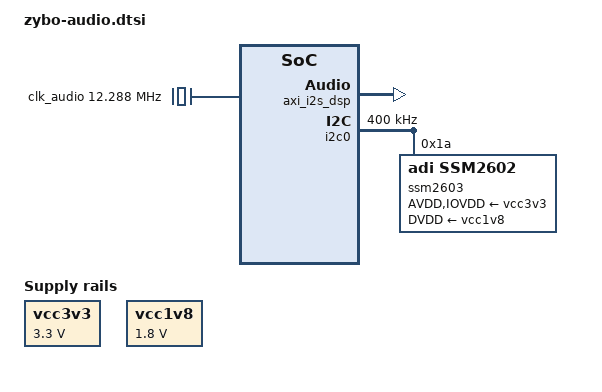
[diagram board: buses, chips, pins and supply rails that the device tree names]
/*
 * zybo-audio.dtsi — Device Tree Overlay for ZYBO Audio DSP
 * ----------------------------------------------------------
 * This file adds the audio subsystem nodes to the ZYBO Z7 device tree.
 * Include it from the top-level system-top.dts in your Buildroot project:
 *
 *   /include/ "zybo-audio.dtsi"
 *
 * Key nodes:
 *   - axi_dma_audio: AXI DMA engine for audio streaming
 *   - axi_i2s_dsp:   Custom I2S + DSP audio processing IP
 *   - sound_card:    ASoC sound card definition
 *   - clk_audio:     Audio clock (12.288 MHz from PL MMCM)
 */

/ {
    /* ── Audio clock reference ─────────────────────────────────────── */
    clk_audio: clk_audio {
        compatible = "fixed-clock";
        #clock-cells = <0>;
        clock-frequency = <12288000>;  /* 12.288 MHz */
        clock-output-names = "audio_mclk";
    };

    /* ── ASoC Sound Card ───────────────────────────────────────────── */
    sound_card: sound {
        compatible = "digilent,zybo-audio";
        model = "ZYBO Z7 Audio DSP";

        /* CPU DAI = FPGA I2S+DSP, Codec DAI = SSM2603 */
        audio-cpu = <&axi_i2s_dsp>;
        audio-codec = <&ssm2603>;

        /* Audio routing: map codec outputs to board jacks */
        audio-routing =
            "Headphone", "HPOUT",
            "Line Out",   "LOUT",
            "Line In",    "LINEIN",
            "Mic In",     "MICBIAS";

        /* Clocks */
        clocks = <&clk_audio>;
        clock-names = "mclk";

        /* Codec is I2C-controlled, I2S slave */
        codec-master;
    };

    /* ── Simple Audio Card Dummy (for basic ALSA playback) ─────────── */
    /* Use simple-audio-card for quick bring-up before custom driver */
    dummy_sound: dummy-sound {
        compatible = "simple-audio-card";
        simple-audio-card,name = "ZYBO Audio DSP (simple)";
        simple-audio-card,format = "i2s";
        simple-audio-card,bitclock-master = <&cpu_dai>;
        simple-audio-card,frame-master = <&cpu_dai>;

        cpu_dai: simple-audio-card,cpu {
            sound-dai = <&axi_i2s_dsp>;
        };

        simple-audio-card,codec {
            sound-dai = <&ssm2603>;
        };
    };
};

/* ═══════════════════════════════════════════════════════════════════════
 * PL (Programmable Logic) Peripherals
 * Add these under the amba_pl node created by the Zynq device tree.
 * ═══════════════════════════════════════════════════════════════════════ */

&amba_pl {
    /* ── AXI DMA: Audio Data Engine ──────────────────────────────── */
    axi_dma_audio: dma@40400000 {
        compatible = "xlnx,axi-dma-1.00.a";
        reg = <0x40400000 0x10000>;
        interrupt-parent = <&intc>;
        interrupts = <0 29 4>, <0 30 4>;  /* MM2S, S2MM */

        #dma-cells = <1>;
        clocks = <&clkc 15>;  /* FCLK0 = 100 MHz */
        clock-names = "s_axi_lite_aclk";

        /* DMA channels */
        dma-channel@40400000 {
            compatible = "xlnx,axi-dma-mm2s-channel";
            reg = <0x40400000 0x1000>;
            interrupts = <0 29 4>;
            xlnx,device-id = <0>;
            xlnx,datawidth = <64>;
        };
        dma-channel@40400030 {
            compatible = "xlnx,axi-dma-s2mm-channel";
            reg = <0x40400030 0x1000>;
            interrupts = <0 30 4>;
            xlnx,device-id = <0>;
            xlnx,datawidth = <64>;
        };
    };

    /* ── Custom I2S + DSP Audio IP ────────────────────────────────── */
    axi_i2s_dsp: i2s-dsp@43c00000 {
        compatible = "digilent,zybo-i2s-dsp-1.0";
        reg = <0x43c00000 0x10000>;

        /* AXI-Stream connections (referenced by DMA) */
        dmas = <&axi_dma_audio 0>;   /* playback: MM2S → I2S_DSP */
        dma-names = "tx";

        clocks = <&clk_audio>, <&clkc 15>;
        clock-names = "audio", "axi";

        /* I2S pins (MIO-connected through PL) */
        pinctrl-names = "default";
        pinctrl-0 = <&pinctrl_i2s>;

        status = "okay";
    };

    /* ── I2S Pin Control ──────────────────────────────────────────── */
    pinctrl_i2s: i2s-grp {
        /* Using EMIO pins (PL I/O), no traditional pinctrl needed */
        /* Document the pin mapping:
         *   i2s_mclk    → M18
         *   i2s_bclk    → K18
         *   i2s_lrclk   → L17
         *   i2s_sdata_i → M17
         *   i2s_sdata_o → M19
         */
    };

    /* ── AXI GPIO: LEDs ───────────────────────────────────────────── */
    axi_gpio_led: gpio@41200000 {
        compatible = "xlnx,axi-gpio-2.0";
        reg = <0x41200000 0x10000>;
        #gpio-cells = <2>;
        gpio-controller;
        xlnx,all-outputs = <1>;
        xlnx,gpio-width = <4>;
    };

    /* ── AXI GPIO: Buttons ─────────────────────────────────────────── */
    axi_gpio_btn: gpio@41210000 {
        compatible = "xlnx,axi-gpio-2.0";
        reg = <0x41210000 0x10000>;
        #gpio-cells = <2>;
        gpio-controller;
        xlnx,all-inputs = <1>;
        xlnx,gpio-width = <4>;
        interrupt-parent = <&intc>;
        interrupts = <0 31 4>;
    };
};

/* ═══════════════════════════════════════════════════════════════════════
 * SSM2603 Audio Codec (on I2C0, address 0x1A)
 *
 * The SSM2603 is register-compatible with SSM2602.
 * Linux driver: sound/soc/codecs/ssm2602.c
 * ═══════════════════════════════════════════════════════════════════════ */

&i2c0 {
    status = "okay";
    clock-frequency = <400000>;

    ssm2603: audio-codec@1a {
        compatible = "adi,ssm2602";
        reg = <0x1a>;

        clocks = <&clk_audio>;
        clock-names = "mclk";

        #sound-dai-cells = <0>;

        /* Power supplies */
        AVDD-supply = <&vcc3v3>;
        IOVDD-supply = <&vcc3v3>;
        DVDD-supply = <&vcc1v8>;

        adi,digital-microphone;
        adi,disable-jack-detection;
    };
};

/* ── Fixed regulators (if not already defined) ────────────────────────── */
/ {
    vcc3v3: fixedregulator@0 {
        compatible = "regulator-fixed";
        regulator-name = "VCC3V3";
        regulator-min-microvolt = <3300000>;
        regulator-max-microvolt = <3300000>;
        regulator-always-on;
    };

    vcc1v8: fixedregulator@1 {
        compatible = "regulator-fixed";
        regulator-name = "VCC1V8";
        regulator-min-microvolt = <1800000>;
        regulator-max-microvolt = <1800000>;
        regulator-always-on;
    };
};
